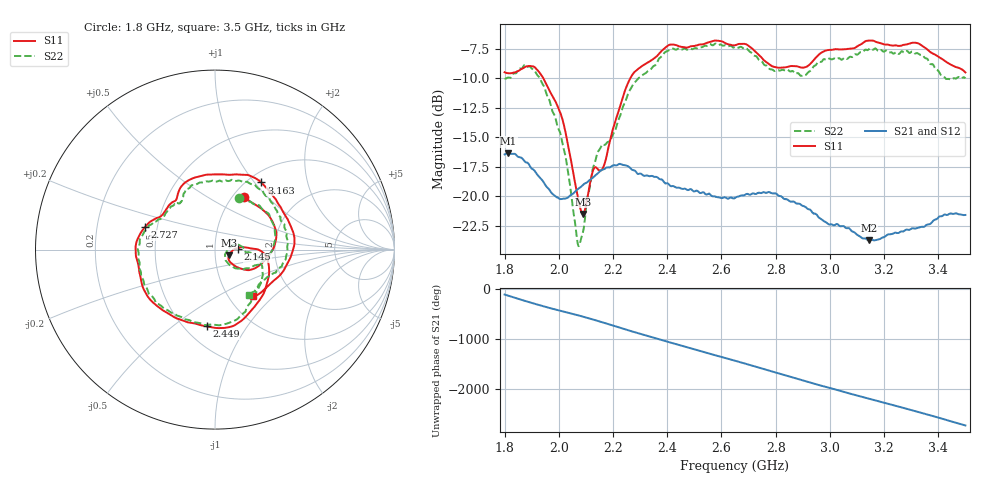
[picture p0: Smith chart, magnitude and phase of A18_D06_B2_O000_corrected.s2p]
! Created with skrf 1.9.0 (http://scikit-rf.org).
# Hz S RI R 50.0
!freq ReS11 ImS11 ReS21 ImS21 ReS12 ImS12 ReS22 ImS22
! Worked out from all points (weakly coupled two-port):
!   1601 points, 1.8 GHz to 3.5 GHz, reference 50 ohm
!   highest |S21| = -16.36 dB at 1.814 GHz (marker M1); lowest = -23.7 dB at 3.144 GHz (marker M2)
!   lowest |S11| = -21.5 dB at 2.089 GHz (marker M3), VSWR 1.18, Z = 58.3 - j3.78 ohm
!   |S11| at or under -10 dB: 1.943 GHz to 2.264 GHz (320.8 MHz wide, 15.3 % of centre)
!   |S22| runs from -24.2 to -7.1 dB; largest |S21 - S12| = 0.0025
!   S11 on the Smith chart (normalised r, x): 1.8 GHz: 1.12, +0.74; 2.145 GHz: 1.30, +0.01; 2.449 GHz: 0.64, -0.67; 2.727 GHz: 0.43, +0.13; 3.163 GHz: 1.15, +1.09; 3.5 GHz: 1.28, -0.75
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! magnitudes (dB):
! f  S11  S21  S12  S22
! 1.8 GHz  -9.5  -16.4  -16.4  -10.0
! 1.814 GHz  -9.6  -16.4  -16.4  -9.9
! 1.88 GHz  -9.0  -17.1  -17.1  -9.0
! 1.942 GHz  -10.0  -18.7  -18.7  -10.6
! 2.013 GHz  -13.4  -20.2  -20.2  -15.4
! 2.068 GHz  -19.8  -19.4  -19.4  -23.7
! 2.084 GHz  -21.3  -19.1  -19.1  -23.4
! 2.089 GHz  -21.5  -19.0  -19.0  -23.0
! 2.126 GHz  -17.8  -18.4  -18.4  -17.6
! 2.145 GHz  -17.7  -18.0  -18.0  -16.2
! 2.168 GHz  -17.3  -17.7  -17.7  -15.6
! 2.263 GHz  -10.0  -17.6  -17.6  -11.0
! 2.367 GHz  -8.0  -18.4  -18.4  -8.4
! 2.449 GHz  -7.3  -19.3  -19.3  -7.5
! 2.65 GHz  -7.2  -20.1  -20.1  -7.3
! 2.727 GHz  -7.8  -19.8  -19.8  -8.1
! 2.934 GHz  -8.6  -21.3  -21.3  -9.2
! 3.144 GHz  -6.8  -23.7  -23.7  -7.5
! 3.163 GHz  -6.8  -23.7  -23.7  -7.5
! 3.217 GHz  -7.2  -23.2  -23.2  -7.8
! 3.324 GHz  -7.0  -22.7  -22.6  -7.9
! 3.5 GHz  -9.5  -21.6  -21.6  -10.0
